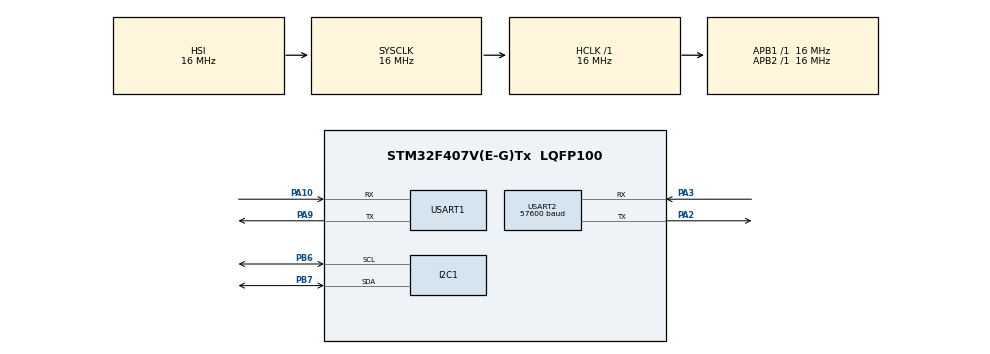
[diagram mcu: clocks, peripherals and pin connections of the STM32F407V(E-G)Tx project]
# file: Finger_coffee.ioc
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Mcu.Family=STM32F4
Mcu.Name=STM32F407V(E-G)Tx
Mcu.Package=LQFP100
NVIC.PriorityGroup=NVIC_PRIORITYGROUP_4
NVIC.USART1_IRQn=true\:0\:0\:false\:false\:true\:true\:true
NVIC.USART2_IRQn=true\:0\:0\:false\:false\:true\:true\:true
PA10.Mode=Asynchronous
PA10.Signal=USART1_RX
PA2.Mode=Asynchronous
PA2.Signal=USART2_TX
PA3.Mode=Asynchronous
PA3.Signal=USART2_RX
PA9.Mode=Asynchronous
PA9.Signal=USART1_TX
PB6.Mode=I2C
PB6.Signal=I2C1_SCL
PB7.Mode=I2C
PB7.Signal=I2C1_SDA
PH0-OSC_IN.Mode=HSE-External-Oscillator
PH0-OSC_IN.Signal=RCC_OSC_IN
PH1-OSC_OUT.Mode=HSE-External-Oscillator
PH1-OSC_OUT.Signal=RCC_OSC_OUT
ProjectManager.HeapSize=0x200
ProjectManager.StackSize=0x400
ProjectManager.TargetToolchain=MDK-ARM V5
RCC.AHBFreq_Value=16000000
RCC.APB1Freq_Value=16000000
RCC.APB2Freq_Value=16000000
RCC.CortexFreq_Value=16000000
RCC.HSE_VALUE=25000000
RCC.HSI_VALUE=16000000
RCC.LSE_VALUE=32768
RCC.SYSCLKFreq_VALUE=16000000
RCC.VCOOutputFreq_Value=192000000
USART1.VirtualMode=VM_ASYNC
USART2.BaudRate=57600
USART2.VirtualMode=VM_ASYNC
board=custom

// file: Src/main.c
/* USER CODE BEGIN Header */
/**
  ******************************************************************************
  * @file           : main.c
  * @brief          : Main program body
  ******************************************************************************
  * @attention
  *
  * <h2><center>&copy; Copyright (c) 2021 STMicroelectronics.
  * All rights reserved.</center></h2>
  *
  * This software component is licensed by ST under BSD 3-Clause license,
  * the "License"; You may not use this file except in compliance with the
  * License. You may obtain a copy of the License at:
  *                        opensource.org/licenses/BSD-3-Clause
  *
  ******************************************************************************
  */
/* USER CODE END Header */

#include "main.h"
#include "finger.h"
#include "lcd_20x4.h"

I2C_HandleTypeDef hi2c1;

UART_HandleTypeDef huart1;
UART_HandleTypeDef huart2;

void SystemClock_Config(void);
static void MX_GPIO_Init(void);
static void MX_I2C1_Init(void);
static void MX_USART1_UART_Init(void);
static void MX_USART2_UART_Init(void);

/* USER CODE BEGIN 0 */
/* Khai bao buffer */
uint8_t txBuf[32];
uint8_t rxBuf[32];
uint8_t rxData;
uint8_t rxIndex = 0;

/* Khai bao cac bien can thiet*/
int p = -1; //int test = 0;
/* Khai bao ngat uart de nhan data*/
void HAL_UART_RxCpltCallback(UART_HandleTypeDef *huart){
		rxBuf[rxIndex] = rxData;
		if (rxIndex < (sizeof(rxBuf)-2))
			rxIndex++;
		HAL_UART_Receive_IT(&huart2, &rxData, 1);
}

int getFingerprintEnroll(int id){
		p = 0; //test = 0;
		while (p != FINGERPRINT_NOFINGER){
			p = getImage();
			LCD_20x4_Clear();
			LCD_20x4_SetCursor(1,1);
			LCD_20x4_Send_String("...",STR_NOSLIDE);
			//test = 1; //...
			HAL_Delay(500);
		}
		while (p != FINGERPRINT_OK){
			p = getImage();
			HAL_Delay(500);
		}

		LCD_20x4_Clear();
		LCD_20x4_SetCursor(1,1);
		LCD_20x4_Send_String("Image taken",STR_NOSLIDE);
		//test = 2; //Image taken
		HAL_Delay(500);
		p = image2Tz(1);
    HAL_Delay(500);
		if (p == FINGERPRINT_OK){
				LCD_20x4_Clear();
				LCD_20x4_SetCursor(1,1);
				LCD_20x4_Send_String("Image converted",STR_NOSLIDE);
				//test = 3; //Image converted
		}
		else{
			//test = 4;//EROR to converted finger 1
			LCD_20x4_Clear();
			LCD_20x4_SetCursor(1,1);
			LCD_20x4_Send_String("ERROR",STR_NOSLIDE);
			return -1;
		}
		HAL_Delay(500);
		LCD_20x4_Clear();
		LCD_20x4_SetCursor(1,1);
		LCD_20x4_Send_String("Wait to lift",STR_NOSLIDE);
		//test = 5; //Wait to lift your hand
		p = 0;
		HAL_Delay(2000);

		while (p != FINGERPRINT_NOFINGER){
			p = getImage();
			HAL_Delay(500);
			LCD_20x4_Clear();
			LCD_20x4_SetCursor(1,1);
			LCD_20x4_Send_String("...",STR_NOSLIDE);
			//test = 6; //...
		}
		//test = 7; //Now get image again
		LCD_20x4_Clear();
		LCD_20x4_SetCursor(1,1);
		LCD_20x4_Send_String("Now again",STR_NOSLIDE);
		HAL_Delay(2000);

		while (p != FINGERPRINT_OK){
			p = getImage();
			HAL_Delay(500);
		}

		//test = 8; //Image 2 taken
		LCD_20x4_Clear();
		LCD_20x4_SetCursor(1,1);
		LCD_20x4_Send_String("Image 2 taken",STR_NOSLIDE);
		HAL_Delay(500);
    p = image2Tz(2);
    HAL_Delay(500);
    if (p == FINGERPRINT_OK){
				//test = 9;//Image converted
					LCD_20x4_Clear();
					LCD_20x4_SetCursor(1,1);
					LCD_20x4_Send_String("Image converted",STR_NOSLIDE);
		}
    else{
        //test = 10;//Error 2
				LCD_20x4_Clear();
				LCD_20x4_SetCursor(1,1);
				LCD_20x4_Send_String("ERROR1",STR_NOSLIDE);
        return -1;
		}
    // OK converted!
		//test = 11; //Creating model for # id
		LCD_20x4_Clear();
		LCD_20x4_SetCursor(1,1);
		LCD_20x4_Print("Creating model:%.0f", id);
    HAL_Delay(1000);
    p = createModel();
    HAL_Delay(1000);
    if (p == FINGERPRINT_OK){
			//test = 12; //Prints matched!
			LCD_20x4_Clear();
			LCD_20x4_SetCursor(1,1);
			LCD_20x4_Send_String("Prints matched",STR_NOSLIDE);
			HAL_Delay(100);
		}
    else{
      //test = 13; //Error
			LCD_20x4_Clear();
			LCD_20x4_SetCursor(1,1);
			LCD_20x4_Send_String("ERROR2",STR_NOSLIDE);
			HAL_Delay(100);
      return -1;
		}
    // Store finger
    HAL_Delay(1000);
    p = storeModel(id);
    HAL_Delay(1000);
		if (p == FINGERPRINT_OK){
			LCD_20x4_Clear();
			LCD_20x4_SetCursor(1,1);
			LCD_20x4_Send_String("Stored!",STR_NOSLIDE);
			//test = 14; //Stored !
		}
    else{
			//test = 15; //ERROR
			LCD_20x4_Clear();
			LCD_20x4_SetCursor(1,1);
			LCD_20x4_Send_String("ERROR3",STR_NOSLIDE);
			HAL_Delay(100);
			return -1;
		}
    return 1;
}

int search_Finger(){
		p = getImage();
		HAL_Delay(100);
		if (p != FINGERPRINT_OK){
			return 0;
		}

		HAL_Delay(100);
		p = image2Tz(1);
		HAL_Delay(100);
		if (p != FINGERPRINT_OK){
        return 0;
		}
		LCD_20x4_Clear();
		LCD_20x4_SetCursor(1,1);
		LCD_20x4_Send_String("OK",STR_NOSLIDE);
		HAL_Delay(500);

    p = search();
		HAL_Delay(1000);
    if (p == FINGERPRINT_OK){
				LCD_20x4_Clear();
				LCD_20x4_SetCursor(1,1);
				LCD_20x4_Print("Found finger:%.0f", returnFingerID());
				HAL_Delay(500);
		}
    else{
        LCD_20x4_Clear();
				LCD_20x4_SetCursor(1,1);
				LCD_20x4_Send_String("Not found",STR_NOSLIDE);
				HAL_Delay(500);
		}
}

/* USER CODE END 0 */

int main(void)
{

  /* MCU Configuration--------------------------------------------------------*/

  /* Reset of all peripherals, Initializes the Flash interface and the Systick. */
  HAL_Init();

  /* Configure the system clock */
  SystemClock_Config();

  /* Initialize all configured peripherals */
  MX_GPIO_Init();
  MX_I2C1_Init();
  MX_USART1_UART_Init();
  MX_USART2_UART_Init();

	/*I2c LCD 16x2*/

	LCD_20x4_i2cDeviceCheck();
	LCD_20x4_Init();
	LCD_20x4_BackLight(LCD_BL_ON);
	LCD_20x4_SetCursor(1,1);
	LCD_20x4_Send_String("hello",STR_NOSLIDE);

  /* USER CODE BEGIN 2 */
	HAL_UART_Receive_IT(&huart2, &rxData, 1);
  /* USER CODE END 2 */
	p = empty();
	HAL_Delay(1000);

	if (getFingerprintEnroll(100)!= 1){
			getFingerprintEnroll(100);
	}

	if (getFingerprintEnroll(20)!= 1){
			getFingerprintEnroll(20);
	}
  /* Infinite loop */
  /* USER CODE BEGIN WHILE */
  while (1)
  {
//		p = search();
//		HAL_Delay(1000);
		LCD_20x4_Clear();
		LCD_20x4_SetCursor(1,1);
		LCD_20x4_Send_String("Begin search",STR_NOSLIDE);
		HAL_Delay(1000);
		search_Finger();
		HAL_Delay(1000);
    /* USER CODE END WHILE */
    /* receive data rx */
		//rxIndex = 0;
//		p = getImage();
//		HAL_Delay(1000);

		//rxIndex = 0;
//		p = match();
//		HAL_Delay(1000);

		//rxIndex = 0;
//		p = empty();
//		HAL_Delay(1000);

		//rxIndex = 0;
//		p = search();
//		HAL_Delay(1000);
  }
}

void SystemClock_Config(void)
{
  RCC_OscInitTypeDef RCC_OscInitStruct = {0};
  RCC_ClkInitTypeDef RCC_ClkInitStruct = {0};

  /** Configure the main internal regulator output voltage
  */
  __HAL_RCC_PWR_CLK_ENABLE();
  __HAL_PWR_VOLTAGESCALING_CONFIG(PWR_REGULATOR_VOLTAGE_SCALE1);
  /** Initializes the CPU, AHB and APB busses clocks
  */
  RCC_OscInitStruct.OscillatorType = RCC_OSCILLATORTYPE_HSI;
  RCC_OscInitStruct.HSIState = RCC_HSI_ON;
  RCC_OscInitStruct.HSICalibrationValue = RCC_HSICALIBRATION_DEFAULT;
  RCC_OscInitStruct.PLL.PLLState = RCC_PLL_NONE;
  if (HAL_RCC_OscConfig(&RCC_OscInitStruct) != HAL_OK)
  {
    Error_Handler();
  }
  /** Initializes the CPU, AHB and APB busses clocks
  */
  RCC_ClkInitStruct.ClockType = RCC_CLOCKTYPE_HCLK|RCC_CLOCKTYPE_SYSCLK
                              |RCC_CLOCKTYPE_PCLK1|RCC_CLOCKTYPE_PCLK2;
  RCC_ClkInitStruct.SYSCLKSource = RCC_SYSCLKSOURCE_HSI;
  RCC_ClkInitStruct.AHBCLKDivider = RCC_SYSCLK_DIV1;
  RCC_ClkInitStruct.APB1CLKDivider = RCC_HCLK_DIV1;
  RCC_ClkInitStruct.APB2CLKDivider = RCC_HCLK_DIV1;

  if (HAL_RCC_ClockConfig(&RCC_ClkInitStruct, FLASH_LATENCY_0) != HAL_OK)
  {
    Error_Handler();
  }
}

static void MX_I2C1_Init(void)
{

  hi2c1.Instance = I2C1;
  hi2c1.Init.ClockSpeed = 100000;
  hi2c1.Init.DutyCycle = I2C_DUTYCYCLE_2;
  hi2c1.Init.OwnAddress1 = 0;
  hi2c1.Init.AddressingMode = I2C_ADDRESSINGMODE_7BIT;
  hi2c1.Init.DualAddressMode = I2C_DUALADDRESS_DISABLE;
  hi2c1.Init.OwnAddress2 = 0;
  hi2c1.Init.GeneralCallMode = I2C_GENERALCALL_DISABLE;
  hi2c1.Init.NoStretchMode = I2C_NOSTRETCH_DISABLE;
  if (HAL_I2C_Init(&hi2c1) != HAL_OK)
  {
    Error_Handler();
  }

}

static void MX_USART1_UART_Init(void)
{

  huart1.Instance = USART1;
  huart1.Init.BaudRate = 115200;
  huart1.Init.WordLength = UART_WORDLENGTH_8B;
  huart1.Init.StopBits = UART_STOPBITS_1;
  huart1.Init.Parity = UART_PARITY_NONE;
  huart1.Init.Mode = UART_MODE_TX_RX;
  huart1.Init.HwFlowCtl = UART_HWCONTROL_NONE;
  huart1.Init.OverSampling = UART_OVERSAMPLING_16;
  if (HAL_UART_Init(&huart1) != HAL_OK)
  {
    Error_Handler();
  }

}

static void MX_USART2_UART_Init(void)
{

  huart2.Instance = USART2;
  huart2.Init.BaudRate = 57600;
  huart2.Init.WordLength = UART_WORDLENGTH_8B;
  huart2.Init.StopBits = UART_STOPBITS_1;
  huart2.Init.Parity = UART_PARITY_NONE;
  huart2.Init.Mode = UART_MODE_TX_RX;
  huart2.Init.HwFlowCtl = UART_HWCONTROL_NONE;
  huart2.Init.OverSampling = UART_OVERSAMPLING_16;
  if (HAL_UART_Init(&huart2) != HAL_OK)
  {
    Error_Handler();
  }

}

static void MX_GPIO_Init(void)
{

  /* GPIO Ports Clock Enable */
  __HAL_RCC_GPIOH_CLK_ENABLE();
  __HAL_RCC_GPIOA_CLK_ENABLE();
  __HAL_RCC_GPIOB_CLK_ENABLE();

}

void Error_Handler(void)
{
}

/************************ (C) COPYRIGHT STMicroelectronics *****END OF FILE****/
